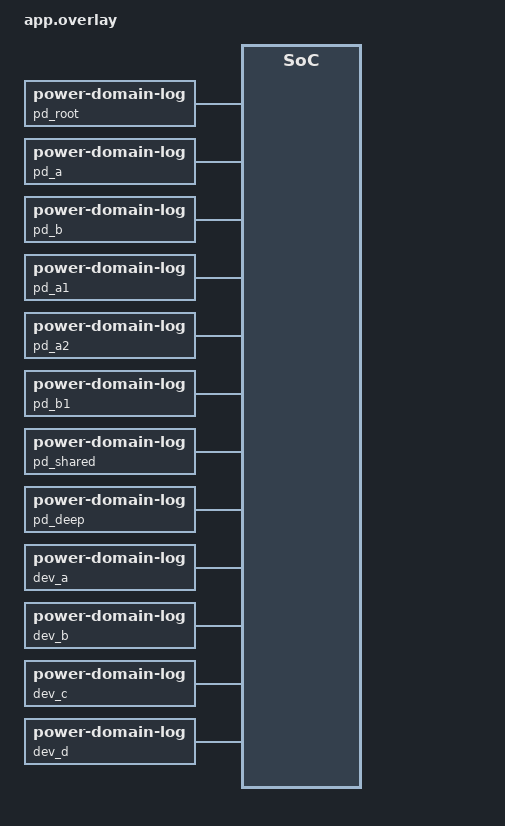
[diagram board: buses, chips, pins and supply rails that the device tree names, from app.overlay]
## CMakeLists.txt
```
# Copyright (c) 2026 Rodrigo Peixoto <rodrigopex@gmail.com>
# SPDX-License-Identifier: Apache-2.0

cmake_minimum_required(VERSION 3.20.0)
find_package(Zephyr REQUIRED HINTS $ENV{ZEPHYR_BASE})
project(power_domain_tree)

target_sources(app PRIVATE src/main.c src/power_domain_log.c)
```

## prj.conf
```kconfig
CONFIG_PM_DEVICE=y
CONFIG_PM_DEVICE_RUNTIME=y
CONFIG_PM_DEVICE_POWER_DOMAIN=y
CONFIG_DEVICE_DEPS=y

CONFIG_LOG=y
CONFIG_LOG_MODE_IMMEDIATE=y
CONFIG_LOG_BACKEND_SHOW_COLOR=n

CONFIG_SHELL=y
```

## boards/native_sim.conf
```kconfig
# Copyright (c) 2026 Rodrigo Peixoto <rodrigopex@gmail.com>
# SPDX-License-Identifier: Apache-2.0

# Route the shell to the process stdin/stdout so the sample can be driven
# interactively, and let the native backend own logging. Without this the
# shell log backend and the native backend would both reach the terminal and
# every line would be printed twice.
CONFIG_UART_NATIVE_PTY_0_ON_STDINOUT=y
CONFIG_SHELL_LOG_BACKEND=n
```

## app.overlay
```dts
/*
 * Copyright (c) 2026 Rodrigo Peixoto <rodrigopex@gmail.com>
 *
 * SPDX-License-Identifier: Apache-2.0
 *
 * Power domain dependency tree exercised by the sample (see the README for a
 * diagram):
 *   - pd_root powers pd_a and pd_b.
 *   - pd_a powers pd_a1 and pd_a2; pd_b powers pd_b1.
 *   - pd_shared depends on both pd_a and pd_b; pd_deep depends on pd_shared.
 *   - dev_a on pd_a1; dev_b on pd_a2 and pd_b1; dev_c on pd_deep;
 *     dev_d on pd_a1 and pd_deep (dev_b and dev_d depend on two domains).
 *
 * Every node sets "zephyr,pm-device-runtime-auto" so runtime PM is enabled
 * automatically at boot; the application only has to get/put the leaf devices.
 */

/ {
	pd_root: pd_root {
		compatible = "zephyr,power-domain-log";
		status = "okay";
		#power-domain-cells = <0>;
		zephyr,pm-device-runtime-auto;
	};

	pd_a: pd_a {
		compatible = "zephyr,power-domain-log";
		status = "okay";
		#power-domain-cells = <0>;
		power-domains = <&pd_root>;
		zephyr,pm-device-runtime-auto;
	};

	pd_b: pd_b {
		compatible = "zephyr,power-domain-log";
		status = "okay";
		#power-domain-cells = <0>;
		power-domains = <&pd_root>;
		zephyr,pm-device-runtime-auto;
	};

	pd_a1: pd_a1 {
		compatible = "zephyr,power-domain-log";
		status = "okay";
		#power-domain-cells = <0>;
		power-domains = <&pd_a>;
		zephyr,pm-device-runtime-auto;
	};

	pd_a2: pd_a2 {
		compatible = "zephyr,power-domain-log";
		status = "okay";
		#power-domain-cells = <0>;
		power-domains = <&pd_a>;
		zephyr,pm-device-runtime-auto;
	};

	pd_b1: pd_b1 {
		compatible = "zephyr,power-domain-log";
		status = "okay";
		#power-domain-cells = <0>;
		power-domains = <&pd_b>;
		zephyr,pm-device-runtime-auto;
	};

	/* Depends on two parent domains at once. */
	pd_shared: pd_shared {
		compatible = "zephyr,power-domain-log";
		status = "okay";
		#power-domain-cells = <0>;
		power-domains = <&pd_a &pd_b>;
		zephyr,pm-device-runtime-auto;
	};

	pd_deep: pd_deep {
		compatible = "zephyr,power-domain-log";
		status = "okay";
		#power-domain-cells = <0>;
		power-domains = <&pd_shared>;
		zephyr,pm-device-runtime-auto;
	};

	dev_a: dev_a {
		compatible = "zephyr,power-domain-log";
		status = "okay";
		power-domains = <&pd_a1>;
		zephyr,pm-device-runtime-auto;
	};

	dev_b: dev_b {
		compatible = "zephyr,power-domain-log";
		status = "okay";
		power-domains = <&pd_a2 &pd_b1>;
		zephyr,pm-device-runtime-auto;
	};

	dev_c: dev_c {
		compatible = "zephyr,power-domain-log";
		status = "okay";
		power-domains = <&pd_deep>;
		zephyr,pm-device-runtime-auto;
	};

	dev_d: dev_d {
		compatible = "zephyr,power-domain-log";
		status = "okay";
		power-domains = <&pd_a1 &pd_deep>;
		zephyr,pm-device-runtime-auto;
	};
};
```

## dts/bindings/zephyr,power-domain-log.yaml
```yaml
# Copyright (c) 2026 Rodrigo Peixoto <rodrigopex@gmail.com>
# SPDX-License-Identifier: Apache-2.0

description: |
  Software power domain used by the power_domain_tree sample. It logs each of
  its power transitions and notifies the devices that depend on it. The same
  compatible is used for the leaf devices of the sample, which simply have no
  dependents to notify.

compatible: "zephyr,power-domain-log"

include: base.yaml
```

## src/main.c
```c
/*
 * Copyright (c) 2026 Rodrigo Peixoto <rodrigopex@gmail.com>
 *
 * SPDX-License-Identifier: Apache-2.0
 */

#include <zephyr/kernel.h>
#include <zephyr/device.h>
#include <zephyr/pm/device.h>
#include <zephyr/pm/device_runtime.h>
#include <zephyr/shell/shell.h>
#include <zephyr/sys/printk.h>

#define DEV(nodelabel) DEVICE_DT_GET(DT_NODELABEL(nodelabel))

/* The power domain tree, drawn from pd_root down. Each branch string is padded
 * to a fixed width so the state column lines up; the box-drawing characters are
 * multi-byte, so the padding is measured in visible columns, not bytes.
 * pd_shared has two parents, hence the note.
 */
static const struct {
	const char *branch;
	const struct device *dev;
	const char *note;
} tree[] = {
	{ "pd_root           ", DEV(pd_root),   NULL },
	{ "├─ pd_a           ", DEV(pd_a),      NULL },
	{ "│  ├─ pd_a1       ", DEV(pd_a1),     NULL },
	{ "│  ├─ pd_a2       ", DEV(pd_a2),     NULL },
	{ "│  └─ pd_shared   ", DEV(pd_shared), "also powered by pd_b" },
	{ "│     └─ pd_deep  ", DEV(pd_deep),   NULL },
	{ "└─ pd_b           ", DEV(pd_b),      NULL },
	{ "   └─ pd_b1       ", DEV(pd_b1),     NULL },
};

static void print_tree(void)
{
	for (size_t i = 0U; i < ARRAY_SIZE(tree); i++) {
		enum pm_device_state state;

		(void)pm_device_state_get(tree[i].dev, &state);
		printk("%s(%s)", tree[i].branch, pm_device_state_str(state));
		if (tree[i].note != NULL) {
			printk("   [%s]", tree[i].note);
		}
		printk("\n");
	}
}

static void demo_get(const struct device *dev)
{
	printk("\n> get %s\n", dev->name);
	(void)pm_device_runtime_get(dev);
	print_tree();
}

static void demo_put(const struct device *dev)
{
	printk("\n> put %s\n", dev->name);
	(void)pm_device_runtime_put(dev);
	print_tree();
}

static void run_demo(void)
{
	printk("\n=== power domain tree demo ===\n");
	printk("initial state:\n");
	print_tree();

	/* Bring up dev_a: only its branch (pd_a1 -> pd_a -> pd_root) powers up. */
	demo_get(DEV(dev_a));

	/* dev_b needs two branches; pd_a and pd_root are already up. */
	demo_get(DEV(dev_b));

	/* dev_c reaches pd_root through the shared, two-parent pd_shared. */
	demo_get(DEV(dev_c));

	/* Releasing dev_a must not drop pd_a: dev_b still needs it. */
	demo_put(DEV(dev_a));

	/* Releasing dev_b keeps pd_a and pd_b up: pd_shared still needs both. */
	demo_put(DEV(dev_b));

	/* The last consumer goes away and the whole tree collapses. */
	demo_put(DEV(dev_c));

	printk("\n=== demo complete ===\n");
	printk("Use 'pd get <name>' / 'pd put <name>' / 'pd status' to explore.\n");
}

#ifdef CONFIG_SHELL
static int cmd_pd_get(const struct shell *sh, size_t argc, char **argv)
{
	const struct device *dev = device_get_binding(argv[1]);

	if (dev == NULL) {
		shell_error(sh, "unknown device: %s", argv[1]);
		return -EINVAL;
	}

	(void)pm_device_runtime_get(dev);
	print_tree();

	return 0;
}

static int cmd_pd_put(const struct shell *sh, size_t argc, char **argv)
{
	const struct device *dev = device_get_binding(argv[1]);

	if (dev == NULL) {
		shell_error(sh, "unknown device: %s", argv[1]);
		return -EINVAL;
	}

	(void)pm_device_runtime_put(dev);
	print_tree();

	return 0;
}

static int cmd_pd_status(const struct shell *sh, size_t argc, char **argv)
{
	ARG_UNUSED(sh);
	ARG_UNUSED(argc);
	ARG_UNUSED(argv);

	print_tree();

	return 0;
}

SHELL_STATIC_SUBCMD_SET_CREATE(pd_cmds,
	SHELL_CMD_ARG(get, NULL, "Runtime-get a device: pd get <name>", cmd_pd_get, 2, 0),
	SHELL_CMD_ARG(put, NULL, "Runtime-put a device: pd put <name>", cmd_pd_put, 2, 0),
	SHELL_CMD(status, NULL, "Show the state of every power domain", cmd_pd_status),
	SHELL_SUBCMD_SET_END
);

SHELL_CMD_REGISTER(pd, &pd_cmds, "Power domain tree demo", NULL);
#endif /* CONFIG_SHELL */

int main(void)
{
	run_demo();

	return 0;
}
```

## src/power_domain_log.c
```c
/*
 * Copyright (c) 2026 Rodrigo Peixoto <rodrigopex@gmail.com>
 *
 * SPDX-License-Identifier: Apache-2.0
 */

#define DT_DRV_COMPAT zephyr_power_domain_log

#include <zephyr/device.h>
#include <zephyr/pm/device.h>
#include <zephyr/pm/device_runtime.h>
#include <zephyr/logging/log.h>

LOG_MODULE_REGISTER(power_domain_log, LOG_LEVEL_INF);

static int pd_log_action(const struct device *dev, enum pm_device_action action)
{
	switch (action) {
	case PM_DEVICE_ACTION_RESUME:
		LOG_DBG("%s: resumed", dev->name);
		/* Power reached this node: hand it down to the dependents. */
		pm_device_children_action_run(dev, PM_DEVICE_ACTION_TURN_ON, NULL);
		break;
	case PM_DEVICE_ACTION_SUSPEND:
		/* Power is about to be cut: tell the dependents first. */
		pm_device_children_action_run(dev, PM_DEVICE_ACTION_TURN_OFF, NULL);
		LOG_DBG("%s: suspended", dev->name);
		break;
	case PM_DEVICE_ACTION_TURN_ON:
		LOG_DBG("%s: on", dev->name);
		break;
	case PM_DEVICE_ACTION_TURN_OFF:
		LOG_DBG("%s: off", dev->name);
		break;
	default:
		return -ENOTSUP;
	}

	return 0;
}

static int pd_log_init(const struct device *dev)
{
	return pm_device_driver_init(dev, pd_log_action);
}

#define PD_LOG_DEFINE(inst)						       \
	PM_DEVICE_DT_INST_DEFINE(inst, pd_log_action);			       \
	DEVICE_DT_INST_DEFINE(inst, pd_log_init, PM_DEVICE_DT_INST_GET(inst),   \
			      NULL, NULL, POST_KERNEL,			       \
			      CONFIG_APPLICATION_INIT_PRIORITY, NULL);

DT_INST_FOREACH_STATUS_OKAY(PD_LOG_DEFINE)
```
